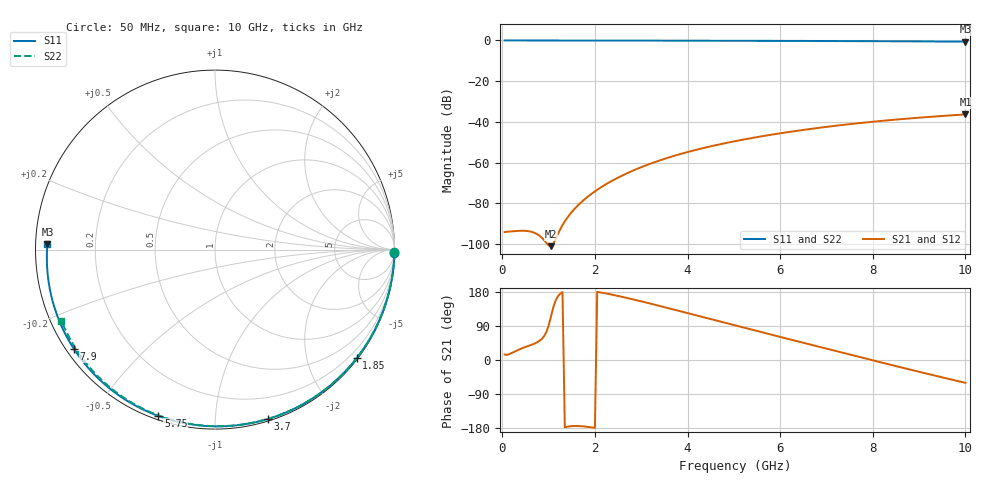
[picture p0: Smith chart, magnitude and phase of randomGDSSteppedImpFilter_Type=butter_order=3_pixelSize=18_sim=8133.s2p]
! freq	dB(S11)	phase(S11)	dB(S12)	phase(S12)
!  dB(S21)	phase(S21)	dB(S22)	phase(S22)
!S-par simulation data
#  GHz  S  DB  R 50
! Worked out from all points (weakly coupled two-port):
!   200 points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, 50 MHz to 10 GHz, reference 50 ohm
!   highest |S21| = -36.34 dB at 10 GHz (marker M1); lowest = -101.1 dB at 1.05 GHz (marker M2)
!   lowest |S11| = -0.6 dB at 10 GHz (marker M3), VSWR 29.43, Z = 1.7 + j0.833 ohm
!   |S11| at or under -10 dB: nowhere
!   |S22| runs from -0.5 to 0.0 dB; largest |S21 - S12| = 0
!   S11 on the Smith chart (normalised r, x): 50 MHz: open; 1.85 GHz: 0.03, -2.95; 3.7 GHz: 0.02, -1.36; 5.75 GHz: 0.02, -0.72; 7.9 GHz: 0.02, -0.32; 10 GHz: 0.03, +0.02
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0.05  -0.00 -1.0  -94.19 14.5  -94.19 14.5  -0.00 -0.9
0.55  -0.01 -11.3  -93.69 36.5  -93.69 36.5  -0.01 -9.9
1.05  -0.03 -21.5  -101.10 113.7  -101.10 113.7  -0.02 -18.9
1.65  -0.04 -33.5  -80.68 -174.3  -80.68 -174.3  -0.04 -29.4
1.7  -0.04 -34.5  -79.61 -174.7  -79.61 -174.7  -0.04 -30.3
1.75  -0.05 -35.5  -78.59 -175.2  -78.59 -175.2  -0.04 -31.2
1.85  -0.05 -37.5  -76.70 -176.5  -76.70 -176.5  -0.04 -32.9
2.15  -0.06 -43.4  -71.90 177.7  -71.90 177.7  -0.05 -38.1
2.5  -0.06 -50.2  -67.41 169.0  -67.41 169.0  -0.06 -44.1
2.9  -0.08 -57.8  -63.21 157.8  -63.21 157.8  -0.07 -50.8
3.4  -0.09 -67.2  -58.95 142.6  -58.95 142.6  -0.08 -59.1
3.7  -0.10 -72.8  -56.79 133.2  -56.79 133.2  -0.09 -64.0
4.35  -0.12 -84.5  -52.83 112.6  -52.83 112.6  -0.11 -74.3
5.05  -0.15 -96.8  -49.39 90.5  -49.39 90.5  -0.13 -85.1
5.75  -0.18 -108.8  -46.55 68.6  -46.55 68.6  -0.16 -95.6
6.2  -0.21 -116.4  -44.95 54.7  -44.95 54.7  -0.18 -102.2
6.7  -0.24 -124.8  -43.35 39.2  -43.35 39.2  -0.21 -109.4
7.3  -0.29 -134.8  -41.65 20.7  -41.65 20.7  -0.25 -117.8
7.9  -0.34 -144.8  -40.17 2.2  -40.17 2.2  -0.30 -126.2
8.35  -0.39 -152.5  -39.19 -11.5  -39.19 -11.5  -0.34 -132.4
9.2  -0.49 -167.3  -37.60 -37.1  -37.60 -37.1  -0.42 -144.1
10  -0.59 178.1  -36.34 -60.3  -36.34 -60.3  -0.51 -155.2
